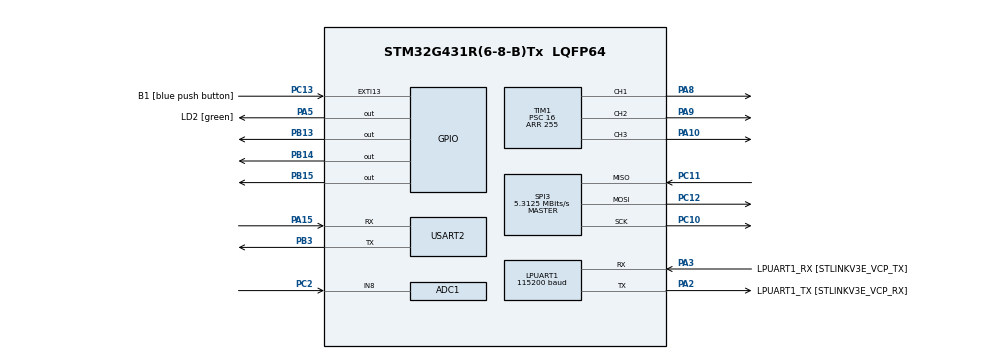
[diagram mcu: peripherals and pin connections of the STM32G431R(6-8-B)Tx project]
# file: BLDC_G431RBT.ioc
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ADC1.Channel-0\#ChannelRegularConversion=ADC_CHANNEL_8
ADC1.NbrOfConversionFlag=1
ADC1.OffsetNumber-0\#ChannelRegularConversion=ADC_OFFSET_NONE
ADC1.Rank-0\#ChannelRegularConversion=1
ADC1.SamplingTime-0\#ChannelRegularConversion=ADC_SAMPLETIME_2CYCLES_5
ADC1.master=1
LPUART1.BaudRate=115200
LPUART1.WordLength=UART_WORDLENGTH_8B
Mcu.Family=STM32G4
Mcu.Name=STM32G431R(6-8-B)Tx
Mcu.Package=LQFP64
NVIC.PriorityGroup=NVIC_PRIORITYGROUP_4
PA10.Signal=S_TIM1_CH3
PA13.GPIO_Label=T_SWDIO
PA13.Mode=Serial_Wire
PA13.Signal=SYS_JTMS-SWDIO
PA14.GPIO_Label=T_SWCLK
PA14.Mode=Serial_Wire
PA14.Signal=SYS_JTCK-SWCLK
PA15.Mode=Asynchronous
PA15.Signal=USART2_RX
PA2.GPIO_Label=LPUART1_TX [STLINKV3E_VCP_RX]
PA2.Mode=Asynchronous
PA2.Signal=LPUART1_TX
PA3.GPIO_Label=LPUART1_RX [STLINKV3E_VCP_TX]
PA3.Mode=Asynchronous
PA3.Signal=LPUART1_RX
PA5.GPIO_Label=LD2 [green]
PA5.Signal=GPIO_Output
PA8.Signal=S_TIM1_CH1
PA9.Signal=S_TIM1_CH2
PB13.Signal=GPIO_Output
PB14.Signal=GPIO_Output
PB15.Signal=GPIO_Output
PB3.Mode=Asynchronous
PB3.Signal=USART2_TX
PC10.Mode=Full_Duplex_Master
PC10.Signal=SPI3_SCK
PC11.Mode=Full_Duplex_Master
PC11.Signal=SPI3_MISO
PC12.Mode=Full_Duplex_Master
PC12.Signal=SPI3_MOSI
PC13.GPIO_Label=B1 [blue push button]
PC13.Signal=GPXTI13
PC14-OSC32_IN.Mode=LSE-External-Oscillator
PC14-OSC32_IN.Signal=RCC_OSC32_IN
PC15-OSC32_OUT.Mode=LSE-External-Oscillator
PC15-OSC32_OUT.Signal=RCC_OSC32_OUT
PC2.Mode=IN8-Single-Ended
PC2.Signal=ADC1_IN8
PF0-OSC_IN.Mode=HSE-External-Oscillator
PF0-OSC_IN.Signal=RCC_OSC_IN
PF1-OSC_OUT.Mode=HSE-External-Oscillator
PF1-OSC_OUT.Signal=RCC_OSC_OUT
ProjectManager.HeapSize=0x200
ProjectManager.StackSize=0x400
ProjectManager.TargetToolchain=STM32CubeIDE
RCC.ADC12Freq_Value=170000000
RCC.AHBFreq_Value=170000000
RCC.APB1Freq_Value=170000000
RCC.APB1TimFreq_Value=170000000
RCC.APB2Freq_Value=170000000
RCC.APB2TimFreq_Value=170000000
RCC.CortexFreq_Value=170000000
RCC.EXTERNAL_CLOCK_VALUE=12288000
RCC.HCLKFreq_Value=170000000
RCC.HSE_VALUE=24000000
RCC.HSI48_VALUE=48000000
RCC.HSI_VALUE=16000000
RCC.PLLM=RCC_PLLM_DIV4
RCC.PLLN=85
RCC.RTCClockSelection=RCC_RTCCLKSOURCE_LSE
RCC.SYSCLKFreq_VALUE=170000000
RCC.SYSCLKSource=RCC_SYSCLKSOURCE_PLLCLK
RCC.USBFreq_Value=170000000
RCC.VCOOutputFreq_Value=340000000
SH.S_TIM1_CH1.0=TIM1_CH1,PWM Generation1 CH1
SH.S_TIM1_CH2.0=TIM1_CH2,PWM Generation2 CH2
SH.S_TIM1_CH3.0=TIM1_CH3,PWM Generation3 CH3
SPI3.BaudRatePrescaler=SPI_BAUDRATEPRESCALER_32
SPI3.CalculateBaudRate=5.3125 MBits/s
SPI3.Direction=SPI_DIRECTION_2LINES
SPI3.Mode=SPI_MODE_MASTER
SPI3.VirtualType=VM_MASTER
TIM1.Channel-PWM\ Generation1\ CH1=TIM_CHANNEL_1
TIM1.Channel-PWM\ Generation2\ CH2=TIM_CHANNEL_2
TIM1.Channel-PWM\ Generation3\ CH3=TIM_CHANNEL_3
TIM1.PeriodNoDither=255
TIM1.Prescaler=16
TIM1.PulseNoDither_1=50
TIM1.PulseNoDither_2=50
TIM1.PulseNoDither_3=50
USART2.VirtualMode-Asynchronous=VM_ASYNC
VP_SYS_VS_DBSignals.Mode=DisableDeadBatterySignals
VP_TIM1_VS_ClockSourceINT.Mode=Internal
board=NUCLEO-G431RB

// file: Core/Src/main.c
/* USER CODE BEGIN Header */
/**
**************************
* @file : main.c
* @brief : Main program body
**************************
* @attention
*
* Copyright (c) 2023 STMicroelectronics.
* All rights reserved.
*
* This software is licensed under terms that can be found in the LICENSE file
* in the root directory of this software component.
* If no LICENSE file comes with this software, it is provided AS-IS.
*
**************************
*/
/* USER CODE END Header */
#include "main.h"
/* USER CODE BEGIN Includes */
#include <as5047p.h>
#include <stdint.h>
/*char tx_buffer[50];
int enkoder1, enkoder2, enkoder3;*/
/* USER CODE END Includes */
/* USER CODE BEGIN PTD */
as5047p_handle_t as5047p;
/* USER CODE END PTD */
ADC_HandleTypeDef hadc1;
UART_HandleTypeDef hlpuart1;
UART_HandleTypeDef huart2;
SPI_HandleTypeDef hspi3;
TIM_HandleTypeDef htim1;
/* USER CODE BEGIN PV */
uint16_t tBuf, rBuf;
uint8_t stepDuration = 5, step = 1;
/* USER CODE END PV */
void SystemClock_Config(void);
static void MX_GPIO_Init(void);
static void MX_LPUART1_UART_Init(void);
static void MX_TIM1_Init(void);
static void MX_ADC1_Init(void);
static void MX_USART2_UART_Init(void);
static void MX_SPI3_Init(void);
/* USER CODE BEGIN PFP */
void SPIAdresHazirla(){
	/*1. UART terminalinden okunan başlangıç pozisyonunun en yüksek 8 bitini alın ve bu değeri 0x0016 adresine yazın*/
	 tBuf = 0x8016;
	 HAL_SPI_Transmit(&hspi3, (uint8_t*)&tBuf, 2, 100); //Yazma isteği gönder
	 HAL_SPI_Receive(&hspi3, (uint8_t*)&rBuf, 2, 100); //Gelen durum çerçevesini al
	 //Parity hata kontrolü
	 if( ! ((rBuf | (1 << 14)) == rBuf)){
		 HAL_GPIO_WritePin(GPIOA, GPIO_PIN_5, GPIO_PIN_SET);
		 return;
	 }
	 tBuf = 0x8015; //1000 0000 0001 0101
	 HAL_SPI_Transmit(&hspi3, (uint8_t*)&tBuf, 2, 100); //Veriyi Yaz
	 /*2. UART terminalinden okunan başlangıç pozisyonunun en düşük 6 bitini alın ve budeğeri 0x0017 adresine yazın.*/
	 tBuf = 0x0017;
	 HAL_SPI_Transmit(&hspi3, (uint8_t*)&tBuf, 2, 100); //Yazma isteği gönder
	 HAL_SPI_Receive(&hspi3, (uint8_t*)&rBuf, 2, 100); //Gelen durum çerçevesini al

	 //Parity hata kontrolü
	 if( ! ((rBuf | (1 << 14)) == rBuf)){
		 HAL_GPIO_WritePin(GPIOA, GPIO_PIN_5, GPIO_PIN_SET);
		 return;
	 }
	 tBuf = 0x8007; //1000 0000 0001 0101
	 HAL_SPI_Transmit(&hspi3, (uint8_t*)&tBuf, 2, 100); //Veriyi Yaz
	 /*3. UART terminalinden okunan başlangıç pozisyonunun en düşük 6 bitini alın ve budeğeri 0x0017 adresine yazın.*/
	 tBuf = 0x80190;
	 HAL_SPI_Transmit(&hspi3, (uint8_t*)&tBuf, 2, 100); //Yazma isteği gönder
	 HAL_SPI_Receive(&hspi3, (uint8_t*)&rBuf, 2, 100); //Gelen durum çerçevesini al
	 //Parity hata kontrolü
	 if( ! ((rBuf | (1 << 14)) == rBuf)){
		 HAL_GPIO_WritePin(GPIOA, GPIO_PIN_5, GPIO_PIN_SET);
		 return;
	 }
	 tBuf = 0x8007; //1000 0000 0000 0111
	 HAL_SPI_Transmit(&hspi3, (uint8_t*)&tBuf, 2, 100); //Veriyi Yaz
}
/* USER CODE END PFP */
/* USER CODE BEGIN 0 */
void as5047p_spi_send(uint16_t data);
uint16_t as5047p_spi_read(void);
void as5047p_spi_select(void);
void as5047p_spi_deselect(void);
void as5047p_delay(void);
uint16_t adc_value;
int32_t map(int32_t x, int32_t in_min, int32_t in_max, int32_t out_min, int32_t out_max) {
return (x - in_min) * (out_max - out_min) / (in_max - in_min) + out_min;
}
void Read_ADC() {
		 HAL_ADC_Start(&hadc1);
	 if( HAL_ADC_PollForConversion(&hadc1, 1000000) == HAL_OK ){
	 	adc_value = HAL_ADC_GetValue(&hadc1);
	 }
	 HAL_ADC_Stop(&hadc1);
	 }
/* USER CODE END 0 */
int main(void)
{
/* Reset of all peripherals, Initializes the Flash interface and the Systick. */
HAL_Init();
/* Configure the system clock */
SystemClock_Config();
/* Initialize all configured peripherals */
MX_GPIO_Init();
MX_LPUART1_UART_Init();
MX_TIM1_Init();
MX_ADC1_Init();
MX_USART2_UART_Init();
MX_SPI3_Init();
/* USER CODE BEGIN 2 */
SPIAdresHazirla();
/* USER CODE END 2 */
/* Infinite loop */
while (1)
{
/* USER CODE BEGIN 3 */
	 Read_ADC();
int i = map(adc_value, 0, 4095, 60, 255);
if(adc_value ==0)
	 i = 0;
	 for (int operation = 1; operation < 7; ++operation) {
	 	 switch (operation) {
	 	 case 1:
	 	 	 HAL_TIM_PWM_Start(&htim1, TIM_CHANNEL_1);
	 	 	 HAL_TIM_PWM_Stop(&htim1, TIM_CHANNEL_2);
	 	 	 HAL_TIM_PWM_Stop(&htim1, TIM_CHANNEL_3);
	 	 HAL_GPIO_WritePin(GPIOB, GPIO_PIN_13, GPIO_PIN_RESET);
	 	 HAL_GPIO_WritePin(GPIOB, GPIO_PIN_14, GPIO_PIN_SET);
	 	 HAL_GPIO_WritePin(GPIOB, GPIO_PIN_15, GPIO_PIN_RESET);
	 	 HAL_Delay(2);
	 	 break;
	 	 case 2:
	 	 	 HAL_TIM_PWM_Start(&htim1, TIM_CHANNEL_1);
	 	 	 HAL_TIM_PWM_Stop(&htim1, TIM_CHANNEL_2);
	 	 	 HAL_TIM_PWM_Stop(&htim1, TIM_CHANNEL_3);
	 	 HAL_GPIO_WritePin(GPIOB, GPIO_PIN_13, GPIO_PIN_RESET);
	 	 HAL_GPIO_WritePin(GPIOB, GPIO_PIN_14, GPIO_PIN_RESET);
	 	 HAL_GPIO_WritePin(GPIOB, GPIO_PIN_15, GPIO_PIN_SET);
	 	 HAL_Delay(2);
	 	 break;
	 	 case 3:
	 	 	 HAL_TIM_PWM_Stop(&htim1, TIM_CHANNEL_1);
	 	 	 HAL_TIM_PWM_Start(&htim1, TIM_CHANNEL_2);
	 	 	 HAL_TIM_PWM_Stop(&htim1, TIM_CHANNEL_3);
	 	 HAL_GPIO_WritePin(GPIOB, GPIO_PIN_13, GPIO_PIN_RESET);
	 	 HAL_GPIO_WritePin(GPIOB, GPIO_PIN_14, GPIO_PIN_RESET);
	 	 HAL_GPIO_WritePin(GPIOB, GPIO_PIN_15, GPIO_PIN_SET);
	 	 HAL_Delay(2);
	 	 break;
	 	 case 4:
	 	 	 HAL_TIM_PWM_Stop(&htim1, TIM_CHANNEL_1);
	 	 	 HAL_TIM_PWM_Start(&htim1, TIM_CHANNEL_2);
	 	 	 HAL_TIM_PWM_Stop(&htim1, TIM_CHANNEL_3);
	 	 HAL_GPIO_WritePin(GPIOB, GPIO_PIN_13, GPIO_PIN_SET);
	 	 HAL_GPIO_WritePin(GPIOB, GPIO_PIN_14, GPIO_PIN_RESET);
	 	 HAL_GPIO_WritePin(GPIOB, GPIO_PIN_15, GPIO_PIN_RESET);
	 	 HAL_Delay(2);
	 	 break;
	 	 case 5:
	 	 	 HAL_TIM_PWM_Stop(&htim1, TIM_CHANNEL_1);
	 	 	 HAL_TIM_PWM_Stop(&htim1, TIM_CHANNEL_2);
	 	 	 HAL_TIM_PWM_Start(&htim1, TIM_CHANNEL_3);
	 	 HAL_GPIO_WritePin(GPIOB, GPIO_PIN_13, GPIO_PIN_SET);
	 	 HAL_GPIO_WritePin(GPIOB, GPIO_PIN_14, GPIO_PIN_RESET);
	 	 HAL_GPIO_WritePin(GPIOB, GPIO_PIN_15, GPIO_PIN_RESET);
	 	 HAL_Delay(2);
	 	 break;
	 	 case 6:
	 	 	 HAL_TIM_PWM_Stop(&htim1, TIM_CHANNEL_1);
	 	 	 HAL_TIM_PWM_Stop(&htim1, TIM_CHANNEL_2);
	 	 	 HAL_TIM_PWM_Start(&htim1, TIM_CHANNEL_3);
	 	 HAL_GPIO_WritePin(GPIOB, GPIO_PIN_13, GPIO_PIN_RESET);
	 	 HAL_GPIO_WritePin(GPIOB, GPIO_PIN_14, GPIO_PIN_SET);
	 	 HAL_GPIO_WritePin(GPIOB, GPIO_PIN_15, GPIO_PIN_RESET);
	 	 HAL_Delay(2);
	 	 break;
	 	 }}
	 __HAL_TIM_SET_COMPARE(&htim1,TIM_CHANNEL_1,i);
	 __HAL_TIM_SET_COMPARE(&htim1,TIM_CHANNEL_2,i);
	 __HAL_TIM_SET_COMPARE(&htim1,TIM_CHANNEL_3,i);

	 uint16_t data= 0x3FFE;
	 	    HAL_SPI_Transmit(&hspi3, &data, 2, 100);
	 	    uint16_t rxbuf;
	 	    HAL_SPI_Receive(&hspi3, &rxbuf, 2, 100);

	 /* enkoder1 = HAL_GPIO_ReadPin(GPIOA, GPIO_PIN_0);
	 	 HAL_Delay(10);
	 	 enkoder2 = HAL_GPIO_ReadPin(GPIOC, GPIO_PIN_0);
	 	 HAL_Delay(10);
	 	 enkoder3 = HAL_GPIO_ReadPin(GPIOC, GPIO_PIN_1);
	 	 HAL_Delay(10);
	 	HAL_UART_Transmit(&huart2, (uint8_t*)tx_buffer, sprintf(tx_buffer, "%d, enkoder1\n"), 100 );
	 	HAL_UART_Transmit(&huart2, (uint8_t*)tx_buffer, sprintf(tx_buffer, "&enkoder2\n"), 100 );
	 	HAL_UART_Transmit(&huart2, (uint8_t*)tx_buffer, sprintf(tx_buffer, "%d, enkoder3\n"), 100 ); */
}
/* USER CODE END 3 */
}
void SystemClock_Config(void)
{
RCC_OscInitTypeDef RCC_OscInitStruct = {0};
RCC_ClkInitTypeDef RCC_ClkInitStruct = {0};
/** Configure the main internal regulator output voltage
*/
HAL_PWREx_ControlVoltageScaling(PWR_REGULATOR_VOLTAGE_SCALE1_BOOST);
/** Initializes the RCC Oscillators according to the specified parameters
* in the RCC_OscInitTypeDef structure.
*/
RCC_OscInitStruct.OscillatorType = RCC_OSCILLATORTYPE_HSI;
RCC_OscInitStruct.HSIState = RCC_HSI_ON;
RCC_OscInitStruct.HSICalibrationValue = RCC_HSICALIBRATION_DEFAULT;
RCC_OscInitStruct.PLL.PLLState = RCC_PLL_ON;
RCC_OscInitStruct.PLL.PLLSource = RCC_PLLSOURCE_HSI;
RCC_OscInitStruct.PLL.PLLM = RCC_PLLM_DIV4;
RCC_OscInitStruct.PLL.PLLN = 85;
RCC_OscInitStruct.PLL.PLLP = RCC_PLLP_DIV2;
RCC_OscInitStruct.PLL.PLLQ = RCC_PLLQ_DIV2;
RCC_OscInitStruct.PLL.PLLR = RCC_PLLR_DIV2;
if (HAL_RCC_OscConfig(&RCC_OscInitStruct) != HAL_OK)
{
Error_Handler();
}
/** Initializes the CPU, AHB and APB buses clocks
*/
RCC_ClkInitStruct.ClockType = RCC_CLOCKTYPE_HCLK|RCC_CLOCKTYPE_SYSCLK
|RCC_CLOCKTYPE_PCLK1|RCC_CLOCKTYPE_PCLK2;
RCC_ClkInitStruct.SYSCLKSource = RCC_SYSCLKSOURCE_PLLCLK;
RCC_ClkInitStruct.AHBCLKDivider = RCC_SYSCLK_DIV1;
RCC_ClkInitStruct.APB1CLKDivider = RCC_HCLK_DIV1;
RCC_ClkInitStruct.APB2CLKDivider = RCC_HCLK_DIV1;
if (HAL_RCC_ClockConfig(&RCC_ClkInitStruct, FLASH_LATENCY_4) != HAL_OK)
{
Error_Handler();
}
}
static void MX_ADC1_Init(void)
{
ADC_MultiModeTypeDef multimode = {0};
ADC_ChannelConfTypeDef sConfig = {0};
/** Common config
*/
hadc1.Instance = ADC1;
hadc1.Init.ClockPrescaler = ADC_CLOCK_SYNC_PCLK_DIV4;
hadc1.Init.Resolution = ADC_RESOLUTION_12B;
hadc1.Init.DataAlign = ADC_DATAALIGN_RIGHT;
hadc1.Init.GainCompensation = 0;
hadc1.Init.ScanConvMode = ADC_SCAN_DISABLE;
hadc1.Init.EOCSelection = ADC_EOC_SINGLE_CONV;
hadc1.Init.LowPowerAutoWait = DISABLE;
hadc1.Init.ContinuousConvMode = DISABLE;
hadc1.Init.NbrOfConversion = 1;
hadc1.Init.DiscontinuousConvMode = DISABLE;
hadc1.Init.ExternalTrigConv = ADC_SOFTWARE_START;
hadc1.Init.ExternalTrigConvEdge = ADC_EXTERNALTRIGCONVEDGE_NONE;
hadc1.Init.DMAContinuousRequests = DISABLE;
hadc1.Init.Overrun = ADC_OVR_DATA_PRESERVED;
hadc1.Init.OversamplingMode = DISABLE;
if (HAL_ADC_Init(&hadc1) != HAL_OK)
{
Error_Handler();
}
/** Configure the ADC multi-mode
*/
multimode.Mode = ADC_MODE_INDEPENDENT;
if (HAL_ADCEx_MultiModeConfigChannel(&hadc1, &multimode) != HAL_OK)
{
Error_Handler();
}
/** Configure Regular Channel
*/
sConfig.Channel = ADC_CHANNEL_8;
sConfig.Rank = ADC_REGULAR_RANK_1;
sConfig.SamplingTime = ADC_SAMPLETIME_2CYCLES_5;
sConfig.SingleDiff = ADC_SINGLE_ENDED;
sConfig.OffsetNumber = ADC_OFFSET_NONE;
sConfig.Offset = 0;
if (HAL_ADC_ConfigChannel(&hadc1, &sConfig) != HAL_OK)
{
Error_Handler();
}
}
static void MX_LPUART1_UART_Init(void)
{
hlpuart1.Instance = LPUART1;
hlpuart1.Init.BaudRate = 115200;
hlpuart1.Init.WordLength = UART_WORDLENGTH_8B;
hlpuart1.Init.StopBits = UART_STOPBITS_1;
hlpuart1.Init.Parity = UART_PARITY_NONE;
hlpuart1.Init.Mode = UART_MODE_TX_RX;
hlpuart1.Init.HwFlowCtl = UART_HWCONTROL_NONE;
hlpuart1.Init.OneBitSampling = UART_ONE_BIT_SAMPLE_DISABLE;
hlpuart1.Init.ClockPrescaler = UART_PRESCALER_DIV1;
hlpuart1.AdvancedInit.AdvFeatureInit = UART_ADVFEATURE_NO_INIT;
if (HAL_UART_Init(&hlpuart1) != HAL_OK)
{
Error_Handler();
}
if (HAL_UARTEx_SetTxFifoThreshold(&hlpuart1, UART_TXFIFO_THRESHOLD_1_8) != HAL_OK)
{
Error_Handler();
}
if (HAL_UARTEx_SetRxFifoThreshold(&hlpuart1, UART_RXFIFO_THRESHOLD_1_8) != HAL_OK)
{
Error_Handler();
}
if (HAL_UARTEx_DisableFifoMode(&hlpuart1) != HAL_OK)
{
Error_Handler();
}
}
static void MX_USART2_UART_Init(void)
{
huart2.Instance = USART2;
huart2.Init.BaudRate = 115200;
huart2.Init.WordLength = UART_WORDLENGTH_8B;
huart2.Init.StopBits = UART_STOPBITS_1;
huart2.Init.Parity = UART_PARITY_NONE;
huart2.Init.Mode = UART_MODE_TX_RX;
huart2.Init.HwFlowCtl = UART_HWCONTROL_NONE;
huart2.Init.OverSampling = UART_OVERSAMPLING_16;
huart2.Init.OneBitSampling = UART_ONE_BIT_SAMPLE_DISABLE;
huart2.Init.ClockPrescaler = UART_PRESCALER_DIV1;
huart2.AdvancedInit.AdvFeatureInit = UART_ADVFEATURE_NO_INIT;
if (HAL_UART_Init(&huart2) != HAL_OK)
{
Error_Handler();
}
if (HAL_UARTEx_SetTxFifoThreshold(&huart2, UART_TXFIFO_THRESHOLD_1_8) != HAL_OK)
{
Error_Handler();
}
if (HAL_UARTEx_SetRxFifoThreshold(&huart2, UART_RXFIFO_THRESHOLD_1_8) != HAL_OK)
{
Error_Handler();
}
if (HAL_UARTEx_DisableFifoMode(&huart2) != HAL_OK)
{
Error_Handler();
}
}
static void MX_SPI3_Init(void)
{
/* SPI3 parameter configuration*/
hspi3.Instance = SPI3;
hspi3.Init.Mode = SPI_MODE_MASTER;
hspi3.Init.Direction = SPI_DIRECTION_2LINES;
hspi3.Init.DataSize = SPI_DATASIZE_4BIT;
hspi3.Init.CLKPolarity = SPI_POLARITY_LOW;
hspi3.Init.CLKPhase = SPI_PHASE_1EDGE;
hspi3.Init.NSS = SPI_NSS_SOFT;
hspi3.Init.BaudRatePrescaler = SPI_BAUDRATEPRESCALER_32;
hspi3.Init.FirstBit = SPI_FIRSTBIT_MSB;
hspi3.Init.TIMode = SPI_TIMODE_DISABLE;
hspi3.Init.CRCCalculation = SPI_CRCCALCULATION_DISABLE;
hspi3.Init.CRCPolynomial = 7;
hspi3.Init.CRCLength = SPI_CRC_LENGTH_DATASIZE;
hspi3.Init.NSSPMode = SPI_NSS_PULSE_ENABLE;
if (HAL_SPI_Init(&hspi3) != HAL_OK)
{
Error_Handler();
}
}
static void MX_TIM1_Init(void)
{
TIM_ClockConfigTypeDef sClockSourceConfig = {0};
TIM_MasterConfigTypeDef sMasterConfig = {0};
TIM_OC_InitTypeDef sConfigOC = {0};
TIM_BreakDeadTimeConfigTypeDef sBreakDeadTimeConfig = {0};
htim1.Instance = TIM1;
htim1.Init.Prescaler = 16;
htim1.Init.CounterMode = TIM_COUNTERMODE_UP;
htim1.Init.Period = 100;
htim1.Init.ClockDivision = TIM_CLOCKDIVISION_DIV1;
htim1.Init.RepetitionCounter = 0;
htim1.Init.AutoReloadPreload = TIM_AUTORELOAD_PRELOAD_DISABLE;
if (HAL_TIM_Base_Init(&htim1) != HAL_OK)
{
Error_Handler();
}
sClockSourceConfig.ClockSource = TIM_CLOCKSOURCE_INTERNAL;
if (HAL_TIM_ConfigClockSource(&htim1, &sClockSourceConfig) != HAL_OK)
{
Error_Handler();
}
if (HAL_TIM_PWM_Init(&htim1) != HAL_OK)
{
Error_Handler();
}
sMasterConfig.MasterOutputTrigger = TIM_TRGO_RESET;
sMasterConfig.MasterOutputTrigger2 = TIM_TRGO2_RESET;
sMasterConfig.MasterSlaveMode = TIM_MASTERSLAVEMODE_DISABLE;
if (HAL_TIMEx_MasterConfigSynchronization(&htim1, &sMasterConfig) != HAL_OK)
{
Error_Handler();
}
sConfigOC.OCMode = TIM_OCMODE_PWM1;
sConfigOC.Pulse = 50;
sConfigOC.OCPolarity = TIM_OCPOLARITY_HIGH;
sConfigOC.OCNPolarity = TIM_OCNPOLARITY_HIGH;
sConfigOC.OCFastMode = TIM_OCFAST_DISABLE;
sConfigOC.OCIdleState = TIM_OCIDLESTATE_RESET;
sConfigOC.OCNIdleState = TIM_OCNIDLESTATE_RESET;
if (HAL_TIM_PWM_ConfigChannel(&htim1, &sConfigOC, TIM_CHANNEL_1) != HAL_OK)
{
Error_Handler();
}
if (HAL_TIM_PWM_ConfigChannel(&htim1, &sConfigOC, TIM_CHANNEL_2) != HAL_OK)
{
Error_Handler();
}
if (HAL_TIM_PWM_ConfigChannel(&htim1, &sConfigOC, TIM_CHANNEL_3) != HAL_OK)
{
Error_Handler();
}
sBreakDeadTimeConfig.OffStateRunMode = TIM_OSSR_DISABLE;
sBreakDeadTimeConfig.OffStateIDLEMode = TIM_OSSI_DISABLE;
sBreakDeadTimeConfig.LockLevel = TIM_LOCKLEVEL_OFF;
sBreakDeadTimeConfig.DeadTime = 0;
sBreakDeadTimeConfig.BreakState = TIM_BREAK_DISABLE;
sBreakDeadTimeConfig.BreakPolarity = TIM_BREAKPOLARITY_HIGH;
sBreakDeadTimeConfig.BreakFilter = 0;
sBreakDeadTimeConfig.BreakAFMode = TIM_BREAK_AFMODE_INPUT;
sBreakDeadTimeConfig.Break2State = TIM_BREAK2_DISABLE;
sBreakDeadTimeConfig.Break2Polarity = TIM_BREAK2POLARITY_HIGH;
sBreakDeadTimeConfig.Break2Filter = 0;
sBreakDeadTimeConfig.Break2AFMode = TIM_BREAK_AFMODE_INPUT;
sBreakDeadTimeConfig.AutomaticOutput = TIM_AUTOMATICOUTPUT_DISABLE;
if (HAL_TIMEx_ConfigBreakDeadTime(&htim1, &sBreakDeadTimeConfig) != HAL_OK)
{
Error_Handler();
}
HAL_TIM_MspPostInit(&htim1);
}
static void MX_GPIO_Init(void)
{
GPIO_InitTypeDef GPIO_InitStruct = {0};
/* GPIO Ports Clock Enable */
__HAL_RCC_GPIOC_CLK_ENABLE();
__HAL_RCC_GPIOF_CLK_ENABLE();
__HAL_RCC_GPIOA_CLK_ENABLE();
__HAL_RCC_GPIOB_CLK_ENABLE();
/*Configure GPIO pin Output Level */
HAL_GPIO_WritePin(LD2_GPIO_Port, LD2_Pin, GPIO_PIN_RESET);
/*Configure GPIO pin Output Level */
HAL_GPIO_WritePin(GPIOB, GPIO_PIN_13|GPIO_PIN_14|GPIO_PIN_15, GPIO_PIN_RESET);
/*Configure GPIO pin : B1_Pin */
GPIO_InitStruct.Pin = B1_Pin;
GPIO_InitStruct.Mode = GPIO_MODE_IT_RISING;
GPIO_InitStruct.Pull = GPIO_NOPULL;
HAL_GPIO_Init(B1_GPIO_Port, &GPIO_InitStruct);
/*Configure GPIO pin : LD2_Pin */
GPIO_InitStruct.Pin = LD2_Pin;
GPIO_InitStruct.Mode = GPIO_MODE_OUTPUT_PP;
GPIO_InitStruct.Pull = GPIO_NOPULL;
GPIO_InitStruct.Speed = GPIO_SPEED_FREQ_LOW;
HAL_GPIO_Init(LD2_GPIO_Port, &GPIO_InitStruct);
/*Configure GPIO pins : PB13 PB14 PB15 */
GPIO_InitStruct.Pin = GPIO_PIN_13|GPIO_PIN_14|GPIO_PIN_15;
GPIO_InitStruct.Mode = GPIO_MODE_OUTPUT_PP;
GPIO_InitStruct.Pull = GPIO_NOPULL;
GPIO_InitStruct.Speed = GPIO_SPEED_FREQ_LOW;
HAL_GPIO_Init(GPIOB, &GPIO_InitStruct);
}
void Error_Handler(void)
{
__disable_irq();
while (1)
{
}
}
